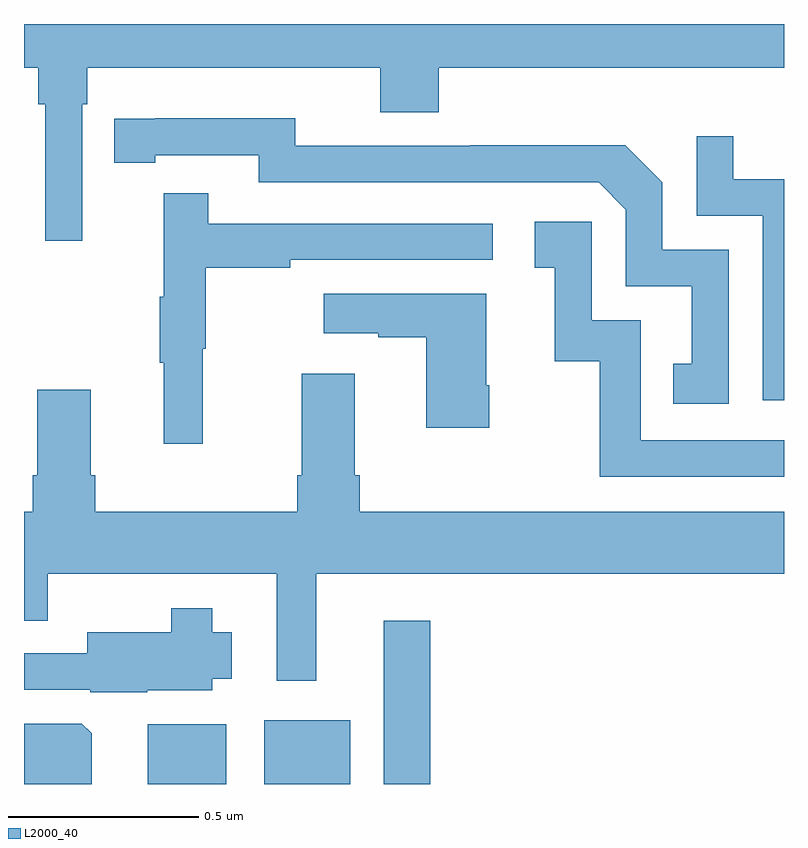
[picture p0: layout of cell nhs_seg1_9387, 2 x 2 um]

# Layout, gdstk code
import gdstk
lib = gdstk.Library(unit=1e-6, precision=1e-09)
def R(c, l, rs):  # rectangles x0, y0, x1, y1
    for r in rs: c.add(gdstk.rectangle(r[:2], r[2:], *l))
def P(c, l, *ps):  # polygons
    for p in ps: c.add(gdstk.Polygon(p, *l))
L2000_40 = (2000, 40)

nhs_seg1_9387 = lib.new_cell('nhs_seg1_9387')
R(nhs_seg1_9387, L2000_40, [(228.326,531.199,228.532,531.356), (228.632,531.199,228.859,531.367), (228.947,531.199,229.069,531.628)])
P(nhs_seg1_9387, L2000_40, [(228.153,532.988),(228.167,532.988),(228.167,533.084),(228.938,533.084),(228.938,532.967),(229.091,532.967),(229.091,533.084),(230,533.084),(230,533.199),(228,533.199),(228,533.084),(228.037,533.084),(228.037,532.988),(228.056,532.988),(228.056,532.629),(228.153,532.629)],
  [(229.854,532.605),(229.68,532.605),(229.68,532.782),(229.582,532.88),(229.174,532.88),(229.174,532.878),(228.714,532.878),(228.714,532.951),(228.346,532.951),(228.346,532.95),(228.238,532.95),(228.238,532.834),(228.346,532.834),(228.346,532.854),(228.618,532.854),(228.618,532.782),(229.512,532.782),(229.584,532.71),(229.584,532.509),(229.757,532.509),(229.757,532.305),(229.708,532.305),(229.708,532.2),(229.854,532.2)],
  [(230,532.791),(229.867,532.791),(229.867,532.903),(229.77,532.903),(229.77,532.695),(229.944,532.695),(229.944,532.209),(230,532.209)],
  [(228.47,532.344),(228.478,532.344),(228.478,532.558),(228.701,532.558),(228.701,532.578),(229.234,532.578),(229.234,532.674),(228.485,532.674),(228.485,532.753),(228.368,532.753),(228.368,532.481),(228.357,532.481),(228.357,532.307),(228.368,532.307),(228.368,532.095),(228.47,532.095)],
  [(230,532.104),(229.623,532.104),(229.623,532.419),(229.494,532.419),(229.494,532.678),(229.344,532.678),(229.344,532.557),(229.397,532.557),(229.397,532.311),(229.515,532.311),(229.515,532.008),(230,532.008)],
  [(229.224,532.249),(229.216,532.249),(229.216,532.489),(228.789,532.489),(228.789,532.385),(228.932,532.385),(228.932,532.375),(229.058,532.375),(229.058,532.137),(229.224,532.137)],
  [(228.769,531.752),(230,531.752),(230,531.916),(228.884,531.916),(228.884,532.012),(228.871,532.012),(228.871,532.279),(228.731,532.279),(228.731,532.012),(228.719,532.012),(228.719,531.916),(228.188,531.916),(228.188,532.012),(228.175,532.012),(228.175,532.237),(228.035,532.237),(228.035,532.012),(228.023,532.012),(228.023,531.916),(228,531.916),(228,531.628),(228.063,531.628),(228.063,531.752),(228.665,531.752),(228.665,531.471),(228.769,531.471)],
  [(228.324,531.446),(228.496,531.446),(228.496,531.476),(228.547,531.476),(228.547,531.598),(228.496,531.598),(228.496,531.661),(228.387,531.661),(228.387,531.598),(228.167,531.598),(228.167,531.543),(228,531.543),(228,531.447),(228.174,531.447),(228.174,531.44),(228.324,531.44)],
  [(228.178,531.332),(228.152,531.358),(228,531.358),(228,531.199),(228.178,531.199)])

lib.write_gds('nhs_seg1_9387.gds')
